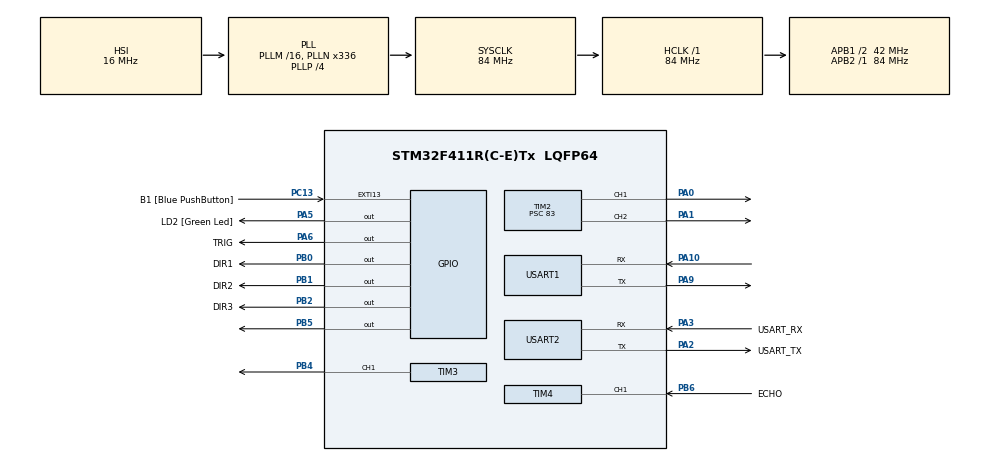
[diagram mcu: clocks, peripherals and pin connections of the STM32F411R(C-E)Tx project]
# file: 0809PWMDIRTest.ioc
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Mcu.Family=STM32F4
Mcu.Name=STM32F411R(C-E)Tx
Mcu.Package=LQFP64
NVIC.PriorityGroup=NVIC_PRIORITYGROUP_0
NVIC.TIM4_IRQn=true\:0\:0\:false\:false\:true\:true\:true\:true
NVIC.USART1_IRQn=true\:0\:0\:false\:false\:true\:true\:true\:true
NVIC.USART2_IRQn=true\:0\:0\:false\:false\:true\:true\:true\:true
PA0-WKUP.Signal=S_TIM2_CH1_ETR
PA1.Signal=S_TIM2_CH2
PA10.Mode=Asynchronous
PA10.Signal=USART1_RX
PA13.GPIO_Label=TMS
PA13.Mode=Serial_Wire
PA13.Signal=SYS_JTMS-SWDIO
PA14.GPIO_Label=TCK
PA14.Mode=Serial_Wire
PA14.Signal=SYS_JTCK-SWCLK
PA2.GPIO_Label=USART_TX
PA2.Mode=Asynchronous
PA2.Signal=USART2_TX
PA3.GPIO_Label=USART_RX
PA3.Mode=Asynchronous
PA3.Signal=USART2_RX
PA5.GPIO_Label=LD2 [Green Led]
PA5.Signal=GPIO_Output
PA6.GPIO_Label=TRIG
PA6.Signal=GPIO_Output
PA9.Mode=Asynchronous
PA9.Signal=USART1_TX
PB0.GPIO_Label=DIR1
PB0.Signal=GPIO_Output
PB1.GPIO_Label=DIR2
PB1.Signal=GPIO_Output
PB2.GPIO_Label=DIR3
PB2.Signal=GPIO_Output
PB3.GPIO_Label=SWO
PB3.Signal=SYS_JTDO-SWO
PB4.Signal=S_TIM3_CH1
PB5.Signal=GPIO_Output
PB6.GPIO_Label=ECHO
PB6.Signal=S_TIM4_CH1
PC13-ANTI_TAMP.GPIO_Label=B1 [Blue PushButton]
PC13-ANTI_TAMP.GPIO_ModeDefaultEXTI=GPIO_MODE_IT_FALLING
PC13-ANTI_TAMP.Signal=GPXTI13
PC14-OSC32_IN.Mode=LSE-External-Oscillator
PC14-OSC32_IN.Signal=RCC_OSC32_IN
PC15-OSC32_OUT.Mode=LSE-External-Oscillator
PC15-OSC32_OUT.Signal=RCC_OSC32_OUT
PH0\ -\ OSC_IN.Mode=HSE-External-Clock-Source
PH0\ -\ OSC_IN.Signal=RCC_OSC_IN
PH1\ -\ OSC_OUT.Mode=HSE-External-Clock-Source
PH1\ -\ OSC_OUT.Signal=RCC_OSC_OUT
ProjectManager.HeapSize=0x200
ProjectManager.StackSize=0x400
ProjectManager.TargetToolchain=STM32CubeIDE
RCC.48MHZClocksFreq_Value=84000000
RCC.AHBFreq_Value=84000000
RCC.APB1CLKDivider=RCC_HCLK_DIV2
RCC.APB1Freq_Value=42000000
RCC.APB1TimFreq_Value=84000000
RCC.APB2Freq_Value=84000000
RCC.APB2TimFreq_Value=84000000
RCC.CortexFreq_Value=84000000
RCC.FLatency-AdvancedSettings=FLASH_LATENCY_2
RCC.HCLKFreq_Value=84000000
RCC.HSE_VALUE=8000000
RCC.HSI_VALUE=16000000
RCC.PLLN=336
RCC.PLLP=RCC_PLLP_DIV4
RCC.SYSCLKFreq_VALUE=84000000
RCC.SYSCLKSource=RCC_SYSCLKSOURCE_PLLCLK
RCC.VCOOutputFreq_Value=336000000
SH.S_TIM2_CH1_ETR.0=TIM2_CH1,PWM Generation1 CH1
SH.S_TIM2_CH2.0=TIM2_CH2,PWM Generation2 CH2
SH.S_TIM3_CH1.0=TIM3_CH1,PWM Generation1 CH1
SH.S_TIM4_CH1.0=TIM4_CH1,Input_Capture1_from_TI1
TIM2.Channel-PWM\ Generation1\ CH1=TIM_CHANNEL_1
TIM2.Channel-PWM\ Generation2\ CH2=TIM_CHANNEL_2
TIM2.Period=999
TIM2.Prescaler=83
TIM3.Channel-PWM\ Generation1\ CH1=TIM_CHANNEL_1
TIM3.Period=999
TIM3.Prescaler=83
TIM4.Channel-Input_Capture1_from_TI1=TIM_CHANNEL_1
TIM4.Prescaler=83
USART1.VirtualMode=VM_ASYNC
USART2.VirtualMode=VM_ASYNC
VP_TIM2_VS_ClockSourceINT.Mode=Internal
VP_TIM3_VS_ClockSourceINT.Mode=Internal
board=NUCLEO-F411RE

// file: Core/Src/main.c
/* USER CODE BEGIN Header */
/**
  ******************************************************************************
  * @file           : main.c
  * @brief          : Main program body
  ******************************************************************************
  * @attention
  *
  * Copyright (c) 2026 STMicroelectronics.
  * All rights reserved.
  *
  * This software is licensed under terms that can be found in the LICENSE file
  * in the root directory of this software component.
  * If no LICENSE file comes with this software, it is provided AS-IS.
  *
  ******************************************************************************
  */
/* USER CODE END Header */
#include "main.h"

/* USER CODE BEGIN Includes */
#include <math.h>
#include <string.h>
#include <stdio.h>
/* USER CODE END Includes */

TIM_HandleTypeDef htim2;
TIM_HandleTypeDef htim3;
TIM_HandleTypeDef htim4;

UART_HandleTypeDef huart1;
UART_HandleTypeDef huart2;

/* USER CODE BEGIN PV */
extern UART_HandleTypeDef huart1;

uint32_t last_telemetry_tick = 0;

uint8_t rx_buf[64];      // IMU 수신 버퍼
// IMU 원시 각도 (센서 X축, Y축 회전)
float imu_x = 0.0f;
float imu_y = 0.0f;

float offset_x = 0.0f;
float offset_y = 0.0f;
uint8_t is_homed = 0;

float z_term = 0.0f;

// phi = Roll (좌우 기울기), theta = Pitch (앞뒤 기울기)
float cur_phi = 0.0f;
float cur_theta = 0.0f;

float target_phi = 0.0f;
float target_theta = 0.0f;
float current_z_cm = 0.0f;
float target_z_cm = 0.0f;

float err_phi = 0.0f;
float err_theta = 0.0f;
float prev_err_phi = 0.0f;
float prev_err_theta = 0.0f;

// sleep 모드 변수
uint8_t sleep_mode = 0;    // 0은 동작 중, 1은 대기 중
uint32_t stable_since = 0; // 오차 안정 구간 시작 시각

// 수신 parser 및 터미널 통신 변수
uint8_t rx_data;           // 1바이트 수신 버퍼
char cmd_buf[32];          // 조립된 문장 버퍼
uint8_t cmd_idx = 0;
uint8_t cmd_received = 0;  // 수신 완료 플래그

// Modbus RTU 요청 패킷
// 확장 : 0x37부터 9워드 (자이로 3, 지자기 3, 각도 3)
uint8_t imu_req_ext[8]   = {0x50, 0x03, 0x00, 0x37, 0x00, 0x09, 0x39, 0x83};
// 축소 : 0x3D부터 3워드 (각도 3)
uint8_t imu_req_angle[8] = {0x50, 0x03, 0x00, 0x3D, 0x00, 0x03, 0x99, 0x86};

// IMU 읽기 모드 0 판별중 / 1 자이로 포함 / 2 각도만
uint8_t imu_mode = 0;
uint8_t imu_ext_fail = 0;

// 자이로 각속도 deg/s
float gyro_x = 0.0f;
float gyro_y = 0.0f;
float rate_phi = 0.0f;
float rate_theta = 0.0f;
float gyro_off_x = 0.0f;
float gyro_off_y = 0.0f;

#define GYRO_LPF_A   0.15f
#define GYRO_SIGN    (+1.0f)   // 각속도 부호가 각도와 반대면 -1.0f

// 제어 게인 : 단위는 deg 당 PWM, (deg/s) 당 PWM
#define KP_THETA      90.0f
#define KP_PHI        105.0f
#define KDR_THETA     2.90f
#define KDR_PHI       3.30f

// 자이로 실패 시 차분 미분 게인
#define KD_THETA      15.0f
#define KD_PHI        12.0f

// 제어 문턱값
#define ERR_DEADBAND   0.10f    // PD 동작 하한
#define SLEEP_ENTER    0.15f    // 슬립 진입 오차
#define SLEEP_EXIT     0.25f    // 슬립 해제 오차
#define SLEEP_HOLD_MS  300      // 슬립 진입 유지 시간
#define OUT_MIN        0.5f     // 출력 무시 하한
#define PWM_MIN        220
#define PWM_MAX        700

// 미세 구동 펄스
#define PULSE_FULL     50.0f    // 이 이상이면 연속 구동
#define PULSE_ON_TICKS 2        // 한 펄스의 최소 구동 틱
#define PULSE_DUTY_MIN 0.20f    // 최저 듀티

// 루프 및 통신 주기
#define LOOP_DELAY_MS  8
#define TLM_PERIOD_MS  20

// 좌표계 : X축 = 전방, Y축 = 좌측, Z축 = 상방
// P1 = (Rp, 0), P2 = (-0.5Rp, +0.866Rp), P3 = (-0.5Rp, -0.866Rp)
// Pgiz = dz - theta * Pix + phi * Piy
#define K_THETA_P1    1.0000f
#define K_THETA_P23   0.5000f
#define K_PHI_P23     0.8660f

// 각도 부호 정의 및 IMU 장착 방향 보정
// phi   (+) : 3번(우) 상승, 2번(좌) 하강
// theta (+) : 1번(앞) 상승, 2번 3번 하강
#define SIGN_PHI      (+1.0f)
#define SIGN_THETA    (+1.0f)

// 원점 재설정 진행 상태
uint8_t homing_active = 0;
uint8_t has_offset = 0;

int16_t mo1 = 0, mo2 = 0, mo3 = 0;

// 제어기 모드 0 = P, 1 = PD, 2 = PID
uint8_t ctrl_mode = 1;

float integ_phi = 0.0f;
float integ_theta = 0.0f;
uint32_t last_ctrl_tick = 0;

#define KI_PHI        31.0f
#define KI_THETA      27.0f
#define INTEG_LIMIT   200.0f

float pulse_acc[3] = {0.0f, 0.0f, 0.0f};
uint8_t pulse_on[3] = {0, 0, 0};
int8_t pulse_dir[3] = {0, 0, 0};

/* USER CODE END PV */

void SystemClock_Config(void);
static void MX_GPIO_Init(void);
static void MX_TIM2_Init(void);
static void MX_TIM3_Init(void);
static void MX_USART2_UART_Init(void);
static void MX_USART1_UART_Init(void);
static void MX_TIM4_Init(void);
/* USER CODE BEGIN PFP */
void Set_Motor(uint8_t motor_num, uint8_t dir, uint16_t speed);
void Run_Homing(void);
/* USER CODE END PFP */

/* USER CODE BEGIN 0 */
static void Integ_Reset(void)
{
    integ_phi = 0.0f;
    integ_theta = 0.0f;
    last_ctrl_tick = 0;
}

static void Pulse_Reset(void)
{
    for (int i = 0; i < 3; i++) {
        pulse_acc[i] = 0.0f;
        pulse_on[i] = 0;
        pulse_dir[i] = 0;
    }
}

static int16_t Motor_Command(int idx, float out)
{
    if (pulse_on[idx] > 0) {
        pulse_on[idx]--;
        return (pulse_dir[idx] > 0) ? (int16_t)PWM_MIN : (int16_t)(-PWM_MIN);
    }

    float a = fabsf(out);

    if (a <= OUT_MIN) {
        pulse_acc[idx] = 0.0f;
        return 0;
    }

    int8_t dir = (out > 0.0f) ? 1 : -1;

    if (a >= PULSE_FULL) {
        pulse_acc[idx] = 0.0f;

        float p = (float)PWM_MIN + (a - PULSE_FULL);
        if (p > (float)PWM_MAX) p = (float)PWM_MAX;

        return (dir > 0) ? (int16_t)p : (int16_t)(-p);
    }

    float duty = a / PULSE_FULL;
    if (duty < PULSE_DUTY_MIN) duty = PULSE_DUTY_MIN;

    pulse_acc[idx] += duty;

    if (pulse_acc[idx] >= (float)PULSE_ON_TICKS) {
        pulse_acc[idx] -= (float)PULSE_ON_TICKS;
        pulse_dir[idx] = dir;
        pulse_on[idx] = PULSE_ON_TICKS - 1;
        return (dir > 0) ? (int16_t)PWM_MIN : (int16_t)(-PWM_MIN);
    }

    return 0;
}

static void Apply_Motor(uint8_t num, int16_t val)
{
    if (val > 0)      Set_Motor(num, 1, (uint16_t)val);
    else if (val < 0) Set_Motor(num, 0, (uint16_t)(-val));
    else              Set_Motor(num, 1, 0);
}

static void Read_IMU(void)
{
    uint8_t got_gyro = 0;

    if (imu_mode != 2) {
        __HAL_UART_CLEAR_OREFLAG(&huart1);
        huart1.RxState = HAL_UART_STATE_READY;

        HAL_UART_Transmit(&huart1, imu_req_ext, 8, 20);
        if (HAL_UART_Receive(&huart1, rx_buf, 23, 25) == HAL_OK
            && rx_buf[0] == 0x50 && rx_buf[1] == 0x03 && rx_buf[2] == 18) {

            int16_t raw_gx = (int16_t)((rx_buf[3]  << 8) | rx_buf[4]);
            int16_t raw_gy = (int16_t)((rx_buf[5]  << 8) | rx_buf[6]);
            int16_t raw_ax = (int16_t)((rx_buf[15] << 8) | rx_buf[16]);
            int16_t raw_ay = (int16_t)((rx_buf[17] << 8) | rx_buf[18]);

            gyro_x = (float)raw_gx / 32768.0f * 2000.0f;
            gyro_y = (float)raw_gy / 32768.0f * 2000.0f;
            imu_x  = (float)raw_ax / 32768.0f * 180.0f;
            imu_y  = (float)raw_ay / 32768.0f * 180.0f;

            imu_mode = 1;
            imu_ext_fail = 0;
            got_gyro = 1;
        } else {
            if (imu_ext_fail < 255) imu_ext_fail++;
            if (imu_mode == 0 && imu_ext_fail >= 10) imu_mode = 2;
        }
    }

    if (!got_gyro) {
        __HAL_UART_CLEAR_OREFLAG(&huart1);
        huart1.RxState = HAL_UART_STATE_READY;

        HAL_UART_Transmit(&huart1, imu_req_angle, 8, 20);
        if (HAL_UART_Receive(&huart1, rx_buf, 11, 20) == HAL_OK) {
            int16_t raw_x = (int16_t)((rx_buf[3] << 8) | rx_buf[4]);
            int16_t raw_y = (int16_t)((rx_buf[5] << 8) | rx_buf[6]);
            imu_x = (float)raw_x / 32768.0f * 180.0f;
            imu_y = (float)raw_y / 32768.0f * 180.0f;
        }
    }

    cur_phi   = SIGN_PHI   * (imu_x - offset_x);
    cur_theta = SIGN_THETA * (imu_y - offset_y);

    err_phi   = target_phi   - cur_phi;
    err_theta = target_theta - cur_theta;

    if (got_gyro) {
        float r_phi   = GYRO_SIGN * SIGN_PHI   * (gyro_x - gyro_off_x);
        float r_theta = GYRO_SIGN * SIGN_THETA * (gyro_y - gyro_off_y);

        rate_phi   += GYRO_LPF_A * (r_phi   - rate_phi);
        rate_theta += GYRO_LPF_A * (r_theta - rate_theta);
    }
}

static void Angle_PD_Output(void)
{
    float fix_phi = 0.0f;
    float fix_theta = 0.0f;

    uint32_t now = HAL_GetTick();
    float dt = (last_ctrl_tick == 0) ? 0.020f : (float)(now - last_ctrl_tick) / 1000.0f;
    last_ctrl_tick = now;
    if (dt > 0.100f) dt = 0.100f;

    float damp_phi;
    float damp_theta;

    if (imu_mode == 1) {
        damp_phi   = -(rate_phi   * KDR_PHI);
        damp_theta = -(rate_theta * KDR_THETA);

        prev_err_phi = err_phi;
        prev_err_theta = err_theta;
    } else {
        damp_phi   = (err_phi   - prev_err_phi)   * KD_PHI;
        damp_theta = (err_theta - prev_err_theta) * KD_THETA;

        prev_err_phi = err_phi;
        prev_err_theta = err_theta;
    }

    if (fabsf(err_phi) > ERR_DEADBAND) {
        fix_phi = err_phi * KP_PHI;
    }

    if (fabsf(err_theta) > ERR_DEADBAND) {
        fix_theta = err_theta * KP_THETA;
    }

    if (ctrl_mode != 0) {
        fix_phi   += damp_phi;
        fix_theta += damp_theta;
    }

    if (ctrl_mode == 2) {
        float lim_phi   = INTEG_LIMIT / KI_PHI;
        float lim_theta = INTEG_LIMIT / KI_THETA;

        integ_phi   += err_phi   * dt;
        integ_theta += err_theta * dt;

        if (integ_phi >  lim_phi)   integ_phi =  lim_phi;
        if (integ_phi < -lim_phi)   integ_phi = -lim_phi;
        if (integ_theta >  lim_theta) integ_theta =  lim_theta;
        if (integ_theta < -lim_theta) integ_theta = -lim_theta;

        fix_phi   += integ_phi   * KI_PHI;
        fix_theta += integ_theta * KI_THETA;
    } else {
        integ_phi = 0.0f;
        integ_theta = 0.0f;
    }

    float out1 =  (fix_theta * K_THETA_P1);
    float out2 = -(fix_theta * K_THETA_P23) - (fix_phi * K_PHI_P23);
    float out3 = -(fix_theta * K_THETA_P23) + (fix_phi * K_PHI_P23);

    mo1 = Motor_Command(0, out1);
    mo2 = Motor_Command(1, out2);
    mo3 = Motor_Command(2, out3);
}

static void Send_Telemetry(void)
{
    char tx_msg[144];
    int len = snprintf(tx_msg, sizeof(tx_msg),
                       "TLM:Z=%.2f,R=%.2f,P=%.2f,S=%d,M1=%d,M2=%d,M3=%d,H=%d,G=%d,C=%d,VR=%.2f,VP=%.2f\r\n",
                       current_z_cm, cur_phi, cur_theta, sleep_mode,
                       mo1, mo2, mo3, homing_active, imu_mode, ctrl_mode,
                       rate_phi, rate_theta);

    HAL_UART_Transmit(&huart2, (uint8_t*)tx_msg, len, 20);
}

static void Homing_Delay(uint32_t ms)
{
    uint32_t start = HAL_GetTick();

    while ((HAL_GetTick() - start) < ms) {
        HAL_Delay(20);

        if (HAL_GetTick() - last_telemetry_tick >= TLM_PERIOD_MS) {
            last_telemetry_tick = HAL_GetTick();
            Send_Telemetry();
        }
    }
}

static void Level_Platform(uint32_t timeout_ms)
{
    if (!has_offset) return;

    target_phi = 0.0f;
    target_theta = 0.0f;
    prev_err_phi = 0.0f;
    prev_err_theta = 0.0f;
    Pulse_Reset();

    uint32_t start = HAL_GetTick();
    uint32_t ok_since = 0;

    while ((HAL_GetTick() - start) < timeout_ms) {
        Read_IMU();
        Angle_PD_Output();

        Apply_Motor(1, mo1);
        Apply_Motor(2, mo2);
        Apply_Motor(3, mo3);

        if (fabsf(err_phi) <= SLEEP_ENTER && fabsf(err_theta) <= SLEEP_ENTER) {
            if (ok_since == 0) ok_since = HAL_GetTick();
            if ((HAL_GetTick() - ok_since) >= SLEEP_HOLD_MS) break;
        } else {
            ok_since = 0;
        }

        if (HAL_GetTick() - last_telemetry_tick >= TLM_PERIOD_MS) {
            last_telemetry_tick = HAL_GetTick();
            Send_Telemetry();
        }

        HAL_Delay(LOOP_DELAY_MS);
    }

    mo1 = 0; mo2 = 0; mo3 = 0;
    Apply_Motor(1, 0);
    Apply_Motor(2, 0);
    Apply_Motor(3, 0);
    Homing_Delay(500);
}

void Run_Homing(void)
{
    homing_active = 1;
    is_homed = 0;
    sleep_mode = 0;
    stable_since = 0;
    Pulse_Reset();
    Integ_Reset();

    Level_Platform(8000);

    mo1 = -1000; mo2 = -1000; mo3 = -1000;
    Apply_Motor(1, mo1);
    Apply_Motor(2, mo2);
    Apply_Motor(3, mo3);
    Homing_Delay(10000);

    mo1 = 1000; mo2 = 1000; mo3 = 1000;
    Apply_Motor(1, mo1);
    Apply_Motor(2, mo2);
    Apply_Motor(3, mo3);
    Homing_Delay(500);

    mo1 = 0; mo2 = 0; mo3 = 0;
    Apply_Motor(1, mo1);
    Apply_Motor(2, mo2);
    Apply_Motor(3, mo3);
    Homing_Delay(1000);

    __HAL_UART_CLEAR_OREFLAG(&huart1);
    __HAL_UART_CLEAR_NEFLAG(&huart1);
    __HAL_UART_CLEAR_FEFLAG(&huart1);
    huart1.ErrorCode = HAL_UART_ERROR_NONE;
    huart1.gState = HAL_UART_STATE_READY;
    huart1.RxState = HAL_UART_STATE_READY;

    while (__HAL_UART_GET_FLAG(&huart1, UART_FLAG_RXNE)) {
        uint8_t dummy = (uint8_t)(huart1.Instance->DR & 0x00FF);
        (void)dummy;
    }

    float sum_x = 0.0f;
    float sum_y = 0.0f;
    float sum_gx = 0.0f;
    float sum_gy = 0.0f;
    int sample_count = 0;

    gyro_off_x = 0.0f;
    gyro_off_y = 0.0f;

    for (int i = 0; i < 50; i++) {
        float prev_ix = imu_x;
        float prev_iy = imu_y;

        Read_IMU();

        if (imu_x != prev_ix || imu_y != prev_iy || i == 0) {
            sum_x  += imu_x;
            sum_y  += imu_y;
            sum_gx += gyro_x;
            sum_gy += gyro_y;
            sample_count++;
        }

        HAL_Delay(20);

        if (HAL_GetTick() - last_telemetry_tick >= TLM_PERIOD_MS) {
            last_telemetry_tick = HAL_GetTick();
            Send_Telemetry();
        }
    }

    if (sample_count > 0) {
        offset_x = sum_x / (float)sample_count;
        offset_y = sum_y / (float)sample_count;

        if (imu_mode == 1) {
            gyro_off_x = sum_gx / (float)sample_count;
            gyro_off_y = sum_gy / (float)sample_count;
        }

        has_offset = 1;
    }

    imu_x = offset_x;
    imu_y = offset_y;
    rate_phi = 0.0f;
    rate_theta = 0.0f;
    cur_phi = 0.0f;
    cur_theta = 0.0f;
    err_phi = 0.0f;
    err_theta = 0.0f;
    prev_err_phi = 0.0f;
    prev_err_theta = 0.0f;

    current_z_cm = 0.0f;
    target_z_cm = 0.0f;
    target_phi = 0.0f;
    target_theta = 0.0f;

    cmd_idx = 0;
    cmd_received = 0;
    memset(cmd_buf, 0, sizeof(cmd_buf));

    homing_active = 0;
    is_homed = 1;
}
/* USER CODE END 0 */

int main(void)
{

  /* MCU Configuration--------------------------------------------------------*/

  /* Reset of all peripherals, Initializes the Flash interface and the Systick. */
  HAL_Init();

  /* Configure the system clock */
  SystemClock_Config();

  /* Initialize all configured peripherals */
  MX_GPIO_Init();
  MX_TIM2_Init();
  MX_TIM3_Init();
  MX_USART2_UART_Init();
  MX_USART1_UART_Init();
  MX_TIM4_Init();

  /* USER CODE BEGIN 2 */
  HAL_TIM_PWM_Start(&htim2, TIM_CHANNEL_1);
  HAL_TIM_PWM_Start(&htim2, TIM_CHANNEL_2);
  HAL_TIM_PWM_Start(&htim3, TIM_CHANNEL_1);

  HAL_Delay(500);

  __HAL_UART_CLEAR_OREFLAG(&huart2);
  HAL_UART_Receive_IT(&huart2, &rx_data, 1);

  Run_Homing();
  /* USER CODE END 2 */

  /* Infinite loop */
  while (1)
  {

    /* USER CODE BEGIN 3 */
      if (!is_homed) continue;

      // 1. PC GUI 명령 파서 (Z, R, P 수신 처리)
      if (cmd_received == 1) {
          if (strstr(cmd_buf, "RST") != NULL) {
              memset(cmd_buf, 0, sizeof(cmd_buf));
              cmd_received = 0;
              Run_Homing();
              continue;
          }

          char *ptr_c = strstr(cmd_buf, "MODE:");
          if (ptr_c != NULL) {
              int m = 0;
              if (sscanf(ptr_c, "MODE:%d", &m) == 1 && m >= 0 && m <= 2) {
                  ctrl_mode = (uint8_t)m;
                  Integ_Reset();
                  Pulse_Reset();
              }
          }

          char *ptr_z = strstr(cmd_buf, "Z:");
          if (ptr_z != NULL) sscanf(ptr_z, "Z:%f", &target_z_cm);

          char *ptr_r = strstr(cmd_buf, "R:");
          if (ptr_r != NULL) sscanf(ptr_r, "R:%f", &target_phi);

          char *ptr_p = strstr(cmd_buf, "P:");
          if (ptr_p != NULL) sscanf(ptr_p, "P:%f", &target_theta);

          memset(cmd_buf, 0, sizeof(cmd_buf));
          cmd_received = 0;

          sleep_mode = 0;
          stable_since = 0;
          Integ_Reset();
      }

      // 2. Z축 이동 제어 (상승/하강 속도 분리 적용)
		float speed_up   = 1.300f; // 상승 전용 속도 (cm/s)
		float speed_down = 1.254f; // 하강 전용 속도 (cm/s)

		z_term = 0.0f;
		float z_error = target_z_cm - current_z_cm;
		float active_speed = (z_error > 0) ? speed_up : speed_down;
		float move_per_tick = active_speed * 0.020f;

		if (fabsf(z_error) > move_per_tick) {
			sleep_mode = 0;
			stable_since = 0;

			if (z_error > 0) {
				current_z_cm += move_per_tick;
				z_term = 1000.0f;  // 상승
			} else {
				current_z_cm -= move_per_tick;
				z_term = -1000.0f; // 하강
			}
		} else {
			current_z_cm = target_z_cm;
			z_term = 0.0f;
		}

      // 3. IMU 센서 데이터 수신
      Read_IMU();

      // 4. 수면 및 기상 판단 (Z축 정지 상태일 때만 판단)
      if (z_term == 0.0f) {
          if (sleep_mode == 1) {
              if (fabsf(err_phi) > SLEEP_EXIT || fabsf(err_theta) > SLEEP_EXIT) {
                  sleep_mode = 0;
                  stable_since = 0;
              }
          } else {
              if (fabsf(err_phi) <= SLEEP_ENTER && fabsf(err_theta) <= SLEEP_ENTER) {
                  if (stable_since == 0) stable_since = HAL_GetTick();
                  if ((HAL_GetTick() - stable_since) >= SLEEP_HOLD_MS) {
                      sleep_mode = 1;
                  }
              } else {
                  stable_since = 0;
              }
          }
      }

      // 5. 모터 최종 출력
      mo1 = 0; mo2 = 0; mo3 = 0;

      if (sleep_mode == 0) {
          if (z_term != 0.0f) {
              int16_t v = (z_term > 0) ? 1000 : -1000;
              mo1 = v; mo2 = v; mo3 = v;
              Pulse_Reset();
          } else {
              Angle_PD_Output();
          }
      } else {
          Pulse_Reset();
          Integ_Reset();
      }

      Apply_Motor(1, mo1);
      Apply_Motor(2, mo2);
      Apply_Motor(3, mo3);

      // 6. 실시간 각도 전송 (100ms 주기)
      if (HAL_GetTick() - last_telemetry_tick >= TLM_PERIOD_MS) {
          last_telemetry_tick = HAL_GetTick();
          Send_Telemetry();
      }

      HAL_Delay(LOOP_DELAY_MS);
  }
  /* USER CODE END 3 */
}

void SystemClock_Config(void)
{
  RCC_OscInitTypeDef RCC_OscInitStruct = {0};
  RCC_ClkInitTypeDef RCC_ClkInitStruct = {0};

  __HAL_RCC_PWR_CLK_ENABLE();
  __HAL_PWR_VOLTAGESCALING_CONFIG(PWR_REGULATOR_VOLTAGE_SCALE1);

  RCC_OscInitStruct.OscillatorType = RCC_OSCILLATORTYPE_HSI;
  RCC_OscInitStruct.HSIState = RCC_HSI_ON;
  RCC_OscInitStruct.HSICalibrationValue = RCC_HSICALIBRATION_DEFAULT;
  RCC_OscInitStruct.PLL.PLLState = RCC_PLL_ON;
  RCC_OscInitStruct.PLL.PLLSource = RCC_PLLSOURCE_HSI;
  RCC_OscInitStruct.PLL.PLLM = 16;
  RCC_OscInitStruct.PLL.PLLN = 336;
  RCC_OscInitStruct.PLL.PLLP = RCC_PLLP_DIV4;
  RCC_OscInitStruct.PLL.PLLQ = 4;
  if (HAL_RCC_OscConfig(&RCC_OscInitStruct) != HAL_OK)
  {
    Error_Handler();
  }

  RCC_ClkInitStruct.ClockType = RCC_CLOCKTYPE_HCLK|RCC_CLOCKTYPE_SYSCLK
                              |RCC_CLOCKTYPE_PCLK1|RCC_CLOCKTYPE_PCLK2;
  RCC_ClkInitStruct.SYSCLKSource = RCC_SYSCLKSOURCE_PLLCLK;
  RCC_ClkInitStruct.AHBCLKDivider = RCC_SYSCLK_DIV1;
  RCC_ClkInitStruct.APB1CLKDivider = RCC_HCLK_DIV2;
  RCC_ClkInitStruct.APB2CLKDivider = RCC_HCLK_DIV1;

  if (HAL_RCC_ClockConfig(&RCC_ClkInitStruct, FLASH_LATENCY_2) != HAL_OK)
  {
    Error_Handler();
  }
}

static void MX_TIM2_Init(void)
{
  TIM_ClockConfigTypeDef sClockSourceConfig = {0};
  TIM_MasterConfigTypeDef sMasterConfig = {0};
  TIM_OC_InitTypeDef sConfigOC = {0};

  htim2.Instance = TIM2;
  htim2.Init.Prescaler = 83;
  htim2.Init.CounterMode = TIM_COUNTERMODE_UP;
  htim2.Init.Period = 999;
  htim2.Init.ClockDivision = TIM_CLOCKDIVISION_DIV1;
  htim2.Init.AutoReloadPreload = TIM_AUTORELOAD_PRELOAD_DISABLE;
  if (HAL_TIM_Base_Init(&htim2) != HAL_OK) Error_Handler();

  sClockSourceConfig.ClockSource = TIM_CLOCKSOURCE_INTERNAL;
  if (HAL_TIM_ConfigClockSource(&htim2, &sClockSourceConfig) != HAL_OK) Error_Handler();
  if (HAL_TIM_PWM_Init(&htim2) != HAL_OK) Error_Handler();

  sMasterConfig.MasterOutputTrigger = TIM_TRGO_RESET;
  sMasterConfig.MasterSlaveMode = TIM_MASTERSLAVEMODE_DISABLE;
  if (HAL_TIMEx_MasterConfigSynchronization(&htim2, &sMasterConfig) != HAL_OK) Error_Handler();

  sConfigOC.OCMode = TIM_OCMODE_PWM1;
  sConfigOC.Pulse = 0;
  sConfigOC.OCPolarity = TIM_OCPOLARITY_HIGH;
  sConfigOC.OCFastMode = TIM_OCFAST_DISABLE;
  if (HAL_TIM_PWM_ConfigChannel(&htim2, &sConfigOC, TIM_CHANNEL_1) != HAL_OK) Error_Handler();
  if (HAL_TIM_PWM_ConfigChannel(&htim2, &sConfigOC, TIM_CHANNEL_2) != HAL_OK) Error_Handler();

  HAL_TIM_MspPostInit(&htim2);
}

static void MX_TIM3_Init(void)
{
  TIM_ClockConfigTypeDef sClockSourceConfig = {0};
  TIM_MasterConfigTypeDef sMasterConfig = {0};
  TIM_OC_InitTypeDef sConfigOC = {0};

  htim3.Instance = TIM3;
  htim3.Init.Prescaler = 83;
  htim3.Init.CounterMode = TIM_COUNTERMODE_UP;
  htim3.Init.Period = 999;
  htim3.Init.ClockDivision = TIM_CLOCKDIVISION_DIV1;
  htim3.Init.AutoReloadPreload = TIM_AUTORELOAD_PRELOAD_DISABLE;
  if (HAL_TIM_Base_Init(&htim3) != HAL_OK) Error_Handler();

  sClockSourceConfig.ClockSource = TIM_CLOCKSOURCE_INTERNAL;
  if (HAL_TIM_ConfigClockSource(&htim3, &sClockSourceConfig) != HAL_OK) Error_Handler();
  if (HAL_TIM_PWM_Init(&htim3) != HAL_OK) Error_Handler();

  sMasterConfig.MasterOutputTrigger = TIM_TRGO_RESET;
  sMasterConfig.MasterSlaveMode = TIM_MASTERSLAVEMODE_DISABLE;
  if (HAL_TIMEx_MasterConfigSynchronization(&htim3, &sMasterConfig) != HAL_OK) Error_Handler();

  sConfigOC.OCMode = TIM_OCMODE_PWM1;
  sConfigOC.Pulse = 0;
  sConfigOC.OCPolarity = TIM_OCPOLARITY_HIGH;
  sConfigOC.OCFastMode = TIM_OCFAST_DISABLE;
  if (HAL_TIM_PWM_ConfigChannel(&htim3, &sConfigOC, TIM_CHANNEL_1) != HAL_OK) Error_Handler();

  HAL_TIM_MspPostInit(&htim3);
}

static void MX_TIM4_Init(void)
{
  TIM_MasterConfigTypeDef sMasterConfig = {0};
  TIM_IC_InitTypeDef sConfigIC = {0};

  htim4.Instance = TIM4;
  htim4.Init.Prescaler = 83;
  htim4.Init.CounterMode = TIM_COUNTERMODE_UP;
  htim4.Init.Period = 65535;
  htim4.Init.ClockDivision = TIM_CLOCKDIVISION_DIV1;
  htim4.Init.AutoReloadPreload = TIM_AUTORELOAD_PRELOAD_DISABLE;
  if (HAL_TIM_IC_Init(&htim4) != HAL_OK) Error_Handler();

  sMasterConfig.MasterOutputTrigger = TIM_TRGO_RESET;
  sMasterConfig.MasterSlaveMode = TIM_MASTERSLAVEMODE_DISABLE;
  if (HAL_TIMEx_MasterConfigSynchronization(&htim4, &sMasterConfig) != HAL_OK) Error_Handler();

  sConfigIC.ICPolarity = TIM_INPUTCHANNELPOLARITY_RISING;
  sConfigIC.ICSelection = TIM_ICSELECTION_DIRECTTI;
  sConfigIC.ICPrescaler = TIM_ICPSC_DIV1;
  sConfigIC.ICFilter = 0;
  if (HAL_TIM_IC_ConfigChannel(&htim4, &sConfigIC, TIM_CHANNEL_1) != HAL_OK) Error_Handler();
}

static void MX_USART1_UART_Init(void)
{
  huart1.Instance = USART1;
  huart1.Init.BaudRate = 115200;
  huart1.Init.WordLength = UART_WORDLENGTH_8B;
  huart1.Init.StopBits = UART_STOPBITS_1;
  huart1.Init.Parity = UART_PARITY_NONE;
  huart1.Init.Mode = UART_MODE_TX_RX;
  huart1.Init.HwFlowCtl = UART_HWCONTROL_NONE;
  huart1.Init.OverSampling = UART_OVERSAMPLING_16;
  if (HAL_UART_Init(&huart1) != HAL_OK) Error_Handler();
}

static void MX_USART2_UART_Init(void)
{
  huart2.Instance = USART2;
  huart2.Init.BaudRate = 115200;
  huart2.Init.WordLength = UART_WORDLENGTH_8B;
  huart2.Init.StopBits = UART_STOPBITS_1;
  huart2.Init.Parity = UART_PARITY_NONE;
  huart2.Init.Mode = UART_MODE_TX_RX;
  huart2.Init.HwFlowCtl = UART_HWCONTROL_NONE;
  huart2.Init.OverSampling = UART_OVERSAMPLING_16;
  if (HAL_UART_Init(&huart2) != HAL_OK) Error_Handler();
}

static void MX_GPIO_Init(void)
{
  GPIO_InitTypeDef GPIO_InitStruct = {0};

  __HAL_RCC_GPIOC_CLK_ENABLE();
  __HAL_RCC_GPIOH_CLK_ENABLE();
  __HAL_RCC_GPIOA_CLK_ENABLE();
  __HAL_RCC_GPIOB_CLK_ENABLE();

  HAL_GPIO_WritePin(GPIOA, LD2_Pin|TRIG_Pin, GPIO_PIN_RESET);
  HAL_GPIO_WritePin(GPIOB, DIR1_Pin|DIR2_Pin|DIR3_Pin|GPIO_PIN_5, GPIO_PIN_RESET);

  GPIO_InitStruct.Pin = B1_Pin;
  GPIO_InitStruct.Mode = GPIO_MODE_IT_FALLING;
  GPIO_InitStruct.Pull = GPIO_NOPULL;
  HAL_GPIO_Init(B1_GPIO_Port, &GPIO_InitStruct);

  GPIO_InitStruct.Pin = LD2_Pin|TRIG_Pin;
  GPIO_InitStruct.Mode = GPIO_MODE_OUTPUT_PP;
  GPIO_InitStruct.Pull = GPIO_NOPULL;
  GPIO_InitStruct.Speed = GPIO_SPEED_FREQ_LOW;
  HAL_GPIO_Init(GPIOA, &GPIO_InitStruct);

  GPIO_InitStruct.Pin = DIR1_Pin|DIR2_Pin|DIR3_Pin|GPIO_PIN_5;
  GPIO_InitStruct.Mode = GPIO_MODE_OUTPUT_PP;
  GPIO_InitStruct.Pull = GPIO_NOPULL;
  GPIO_InitStruct.Speed = GPIO_SPEED_FREQ_LOW;
  HAL_GPIO_Init(GPIOB, &GPIO_InitStruct);
}

/* USER CODE BEGIN 4 */
void Set_Motor(uint8_t motor_num, uint8_t dir, uint16_t speed) {
    if (speed > 1000) speed = 1000;

    uint8_t real_dir = dir ? 0 : 1;

    if (motor_num == 1) {
        HAL_GPIO_WritePin(GPIOB, GPIO_PIN_2, real_dir ? GPIO_PIN_SET : GPIO_PIN_RESET);
        __HAL_TIM_SET_COMPARE(&htim3, TIM_CHANNEL_1, speed);
    }
    else if (motor_num == 2) {
        HAL_GPIO_WritePin(GPIOB, GPIO_PIN_0, real_dir ? GPIO_PIN_SET : GPIO_PIN_RESET);
        __HAL_TIM_SET_COMPARE(&htim2, TIM_CHANNEL_1, speed);
    }
    else if (motor_num == 3) {
        HAL_GPIO_WritePin(GPIOB, GPIO_PIN_1, real_dir ? GPIO_PIN_SET : GPIO_PIN_RESET);
        __HAL_TIM_SET_COMPARE(&htim2, TIM_CHANNEL_2, speed);
    }
}

void HAL_UART_RxCpltCallback(UART_HandleTypeDef *huart) {
    if (huart->Instance == USART2) {
        if (rx_data == '\n' || rx_data == '\r') {
            if (cmd_idx > 0) {
                cmd_buf[cmd_idx] = '\0';
                cmd_received = 1;
                cmd_idx = 0;
            }
        }
        else if (rx_data == '\b' || rx_data == 127) {
            if (cmd_idx > 0) cmd_idx--;
        }
        else {
            if (cmd_idx < 31) {
                cmd_buf[cmd_idx++] = rx_data;
            }
        }

        __HAL_UART_CLEAR_OREFLAG(&huart2);
        __HAL_UART_CLEAR_NEFLAG(&huart2);
        __HAL_UART_CLEAR_FEFLAG(&huart2);
        huart2.RxState = HAL_UART_STATE_READY;
        HAL_UART_Receive_IT(&huart2, &rx_data, 1);
    }
}

void HAL_UART_ErrorCallback(UART_HandleTypeDef *huart) {
    if (huart->Instance == USART2) {
        __HAL_UART_CLEAR_OREFLAG(&huart2);
        __HAL_UART_CLEAR_NEFLAG(&huart2);
        __HAL_UART_CLEAR_FEFLAG(&huart2);
        huart2.ErrorCode = HAL_UART_ERROR_NONE;
        huart2.RxState = HAL_UART_STATE_READY;
        HAL_UART_Receive_IT(&huart2, &rx_data, 1);
    }
}
/* USER CODE END 4 */

void Error_Handler(void)
{
  __disable_irq();
  while (1) {}
}
